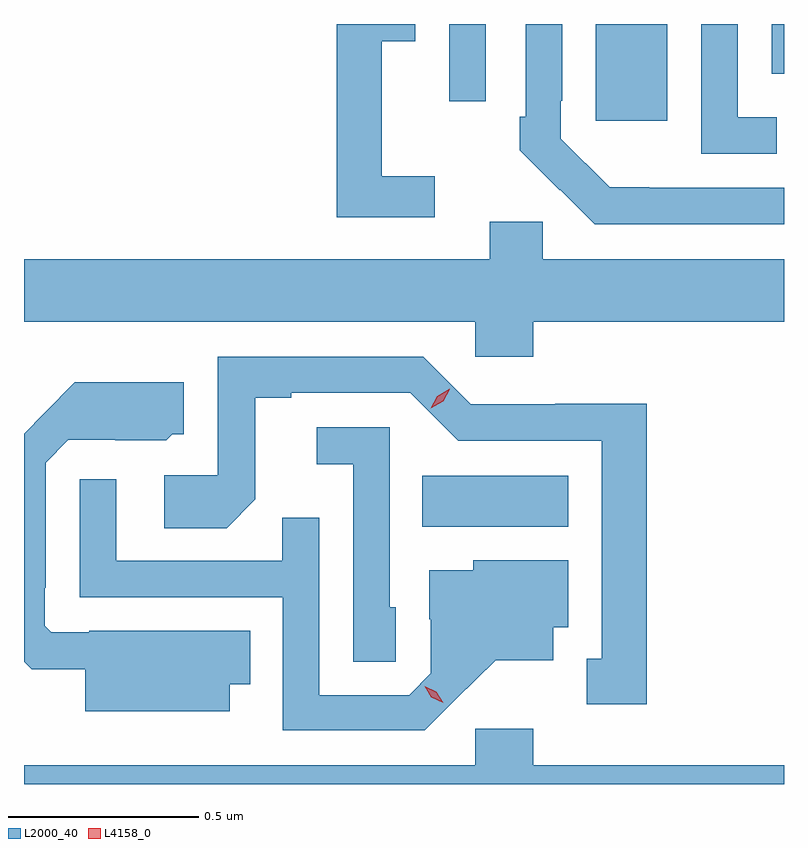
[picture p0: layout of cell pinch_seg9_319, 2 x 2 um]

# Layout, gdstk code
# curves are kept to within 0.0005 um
import gdstk
lib = gdstk.Library(unit=1e-6, precision=1e-09)
def R(c, l, rs):  # rectangles x0, y0, x1, y1
    for r in rs: c.add(gdstk.rectangle(r[:2], r[2:], *l))
def P(c, l, *ps):  # polygons
    for p in ps: c.add(gdstk.Polygon(p, *l))
L2000_40 = (2000, 40)
L4158_0 = (4158, 0)

pinch_seg9_319 = lib.new_cell('pinch_seg9_319')
R(pinch_seg9_319, L2000_40, [(642.64,1178.564,643.024,1178.698), (643.097,1179.633,643.285,1179.887), (642.711,1179.684,642.807,1179.887), (643.56,1179.756,643.592,1179.887)])
P(pinch_seg9_319, L2000_40, [(643.592,1179.456),(643.237,1179.456),(643.237,1179.457),(643.134,1179.457),(643.005,1179.585),(643.005,1179.685),(643.008,1179.685),(643.008,1179.887),(642.912,1179.887),(642.912,1179.643),(642.897,1179.643),(642.897,1179.555),(643.002,1179.45),(643.003,1179.451),(643.094,1179.36),(643.592,1179.36)],
  [(642.673,1179.487),(642.533,1179.487),(642.533,1179.842),(642.622,1179.842),(642.622,1179.887),(642.415,1179.887),(642.415,1179.378),(642.673,1179.378)],
  [(643.573,1179.642),(643.47,1179.642),(643.47,1179.887),(643.374,1179.887),(643.374,1179.546),(643.573,1179.546)],
  [(642.932,1179.104),(643.592,1179.104),(643.592,1179.268),(642.957,1179.268),(642.957,1179.366),(642.818,1179.366),(642.818,1179.268),(641.592,1179.268),(641.592,1179.104),(642.78,1179.104),(642.78,1179.011),(642.932,1179.011)],
  [(643.231,1178.888),(642.99,1178.888),(642.99,1178.886),(642.768,1178.886),(642.642,1179.012),(642.102,1179.012),(642.102,1178.7),(641.961,1178.7),(641.961,1178.56),(642.125,1178.56),(642.201,1178.636),(642.201,1178.904),(642.295,1178.904),(642.295,1178.916),(642.609,1178.916),(642.735,1178.79),(643.112,1178.79),(643.112,1178.217),(643.073,1178.217),(643.073,1178.097),(643.231,1178.097)],
  [(642.133,1178.15),(642.188,1178.15),(642.188,1178.29),(641.764,1178.29),(641.764,1178.286),(641.664,1178.286),(641.646,1178.304),(641.646,1178.404),(641.649,1178.404),(641.649,1178.733),(641.709,1178.793),(641.832,1178.793),(641.832,1178.792),(641.966,1178.792),(641.982,1178.808),(642.013,1178.808),(642.013,1178.944),(641.725,1178.944),(641.592,1178.809),(641.592,1178.209),(641.612,1178.189),(641.753,1178.189),(641.753,1178.078),(642.133,1178.078)],
  [(642.57,1178.352),(642.555,1178.352),(642.555,1178.826),(642.363,1178.826),(642.363,1178.729),(642.459,1178.729),(642.459,1178.209),(642.57,1178.209)],
  [(642.73,1178.111),(642.833,1178.213),(642.985,1178.213),(642.985,1178.3),(643.024,1178.3),(643.024,1178.476),(642.774,1178.476),(642.774,1178.449),(642.659,1178.449),(642.659,1178.32),(642.663,1178.32),(642.663,1178.178),(642.606,1178.121),(642.369,1178.121),(642.369,1178.588),(642.271,1178.588),(642.271,1178.475),(641.835,1178.475),(641.835,1178.689),(641.739,1178.689),(641.739,1178.379),(642.273,1178.379),(642.273,1178.028),(642.646,1178.028)],
  [(643.592,1177.936),(642.932,1177.936),(642.932,1178.032),(642.78,1178.032),(642.78,1177.936),(641.592,1177.936),(641.592,1177.887),(643.592,1177.887)])
P(pinch_seg9_319, L4158_0, [(642.662,1178.876),(642.662,1178.876),(642.68,1178.908),(642.712,1178.927),(642.712,1178.927),(642.712,1178.926),(642.695,1178.894),(642.663,1178.876)],
  [(642.695,1178.101),(642.664,1178.115),(642.646,1178.144),(642.646,1178.144),(642.646,1178.144),(642.677,1178.13),(642.695,1178.101),(642.695,1178.101)])

lib.write_gds('pinch_seg9_319.gds')
